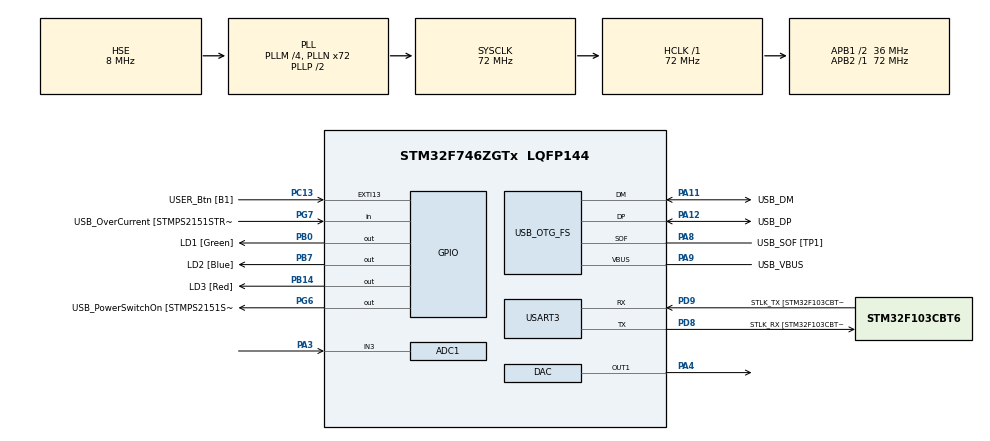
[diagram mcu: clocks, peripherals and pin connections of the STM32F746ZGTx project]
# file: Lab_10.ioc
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ADC1.Channel-0\#ChannelRegularConversion=ADC_CHANNEL_3
ADC1.NbrOfConversionFlag=1
ADC1.Rank-0\#ChannelRegularConversion=1
ADC1.SamplingTime-0\#ChannelRegularConversion=ADC_SAMPLETIME_3CYCLES
ADC1.master=1
Mcu.Family=STM32F7
Mcu.Name=STM32F746ZGTx
Mcu.Package=LQFP144
NVIC.PriorityGroup=NVIC_PRIORITYGROUP_4
NVIC.TIM3_IRQn=true\:0\:0\:false\:false\:true\:true\:true
PA1.GPIO_Label=RMII_REF_CLK [LAN8742A-CZ-TR_REFCLK0]
PA1.Signal=ETH_REF_CLK
PA10.GPIO_Label=USB_ID
PA10.Signal=USB_OTG_FS_ID
PA11.GPIO_Label=USB_DM
PA11.Mode=Device_Only
PA11.Signal=USB_OTG_FS_DM
PA12.GPIO_Label=USB_DP
PA12.Mode=Device_Only
PA12.Signal=USB_OTG_FS_DP
PA13.GPIO_Label=TMS
PA13.Mode=Serial_Wire
PA13.Signal=SYS_JTMS-SWDIO
PA14.GPIO_Label=TCK
PA14.Mode=Serial_Wire
PA14.Signal=SYS_JTCK-SWCLK
PA2.GPIO_Label=RMII_MDIO [LAN8742A-CZ-TR_MDIO]
PA2.Signal=ETH_MDIO
PA3.Signal=ADCx_IN3
PA4.Signal=COMP_DAC1_group
PA7.GPIO_Label=RMII_CRS_DV [LAN8742A-CZ-TR_CRS_DV]
PA7.Signal=ETH_CRS_DV
PA8.GPIO_Label=USB_SOF [TP1]
PA8.Mode=Activate_SOF_FS
PA8.Signal=USB_OTG_FS_SOF
PA9.GPIO_Label=USB_VBUS
PA9.Mode=Activate_VBUS
PA9.Signal=USB_OTG_FS_VBUS
PB0.GPIO_Label=LD1 [Green]
PB0.Signal=GPIO_Output
PB13.GPIO_Label=RMII_TXD1 [LAN8742A-CZ-TR_TXD1]
PB13.Signal=ETH_TXD1
PB14.GPIO_Label=LD3 [Red]
PB14.Signal=GPIO_Output
PB3.GPIO_Label=SW0
PB3.Signal=SYS_JTDO-SWO
PB7.GPIO_Label=LD2 [Blue]
PB7.Signal=GPIO_Output
PC1.GPIO_Label=RMII_MDC [LAN8742A-CZ-TR_MDC]
PC1.Signal=ETH_MDC
PC13.GPIO_Label=USER_Btn [B1]
PC13.Signal=GPXTI13
PC14/OSC32_IN.Mode=LSE-External-Oscillator
PC14/OSC32_IN.Signal=RCC_OSC32_IN
PC15/OSC32_OUT.Mode=LSE-External-Oscillator
PC15/OSC32_OUT.Signal=RCC_OSC32_OUT
PC4.GPIO_Label=RMII_RXD0 [LAN8742A-CZ-TR_RXD0]
PC4.Signal=ETH_RXD0
PC5.GPIO_Label=RMII_RXD1 [LAN8742A-CZ-TR_RXD1]
PC5.Signal=ETH_RXD1
PD8.GPIO_Label=STLK_RX [STM32F103CBT6_PA3]
PD8.Mode=Asynchronous
PD8.Signal=USART3_TX
PD9.GPIO_Label=STLK_TX [STM32F103CBT6_PA2]
PD9.Mode=Asynchronous
PD9.Signal=USART3_RX
PG11.GPIO_Label=RMII_TX_EN [LAN8742A-CZ-TR_TXEN]
PG11.Signal=ETH_TX_EN
PG13.GPIO_Label=RMII_TXD0 [LAN8742A-CZ-TR_TXD0]
PG13.Signal=ETH_TXD0
PG6.GPIO_Label=USB_PowerSwitchOn [STMPS2151STR_EN]
PG6.Signal=GPIO_Output
PG7.GPIO_Label=USB_OverCurrent [STMPS2151STR_FAULT]
PG7.Signal=GPIO_Input
PH0/OSC_IN.GPIO_Label=MCO [STM32F103CBT6_PA8]
PH0/OSC_IN.Mode=HSE-External-Clock-Source
PH0/OSC_IN.Signal=RCC_OSC_IN
PH1/OSC_OUT.Mode=HSE-External-Clock-Source
PH1/OSC_OUT.Signal=RCC_OSC_OUT
ProjectManager.HeapSize=0x200
ProjectManager.StackSize=0x400
ProjectManager.TargetToolchain=STM32CubeIDE
RCC.48MHZClocksFreq_Value=24000000
RCC.AHBFreq_Value=72000000
RCC.APB1CLKDivider=RCC_HCLK_DIV2
RCC.APB1Freq_Value=36000000
RCC.APB1TimFreq_Value=72000000
RCC.APB2Freq_Value=72000000
RCC.APB2TimFreq_Value=72000000
RCC.CortexFreq_Value=72000000
RCC.HCLKFreq_Value=72000000
RCC.HSE_VALUE=8000000
RCC.HSI_VALUE=16000000
RCC.PLLM=4
RCC.PLLMUL=RCC_PLL_MUL9
RCC.PLLN=72
RCC.PLLQ=3
RCC.PRESCALERUSB=RCC_USBCLKSOURCE_PLL_DIV1_5
RCC.SYSCLKFreq_VALUE=72000000
RCC.SYSCLKSource=RCC_SYSCLKSOURCE_PLLCLK
RCC.SYSCLKSourceVirtual=RCC_SYSCLKSOURCE_PLLCLK
RCC.USBFreq_Value=48000000
RCC.VCOOutputFreq_Value=144000000
SH.ADCx_IN3.0=ADC1_IN3,IN3
SH.COMP_DAC1_group.0=DAC_OUT1,DAC_OUT1
TIM3.Period=999
TIM3.Prescaler=8
TIM3.TIM_MasterOutputTrigger=TIM_TRGO_UPDATE
USART3.VirtualMode-Asynchronous=VM_ASYNC
USB_OTG_FS.VirtualMode=Device_Only
VP_TIM3_VS_ClockSourceINT.Mode=Internal
board=NUCLEO-F746ZG

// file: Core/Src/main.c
/* USER CODE BEGIN Header */
/**
  ******************************************************************************
  * @file           : main.c
  * @brief          : Main program body
  ******************************************************************************
  * @attention
  *
  * <h2><center>&copy; Copyright (c) 2021 STMicroelectronics.
  * All rights reserved.</center></h2>
  *
  * This software component is licensed by ST under BSD 3-Clause license,
  * the "License"; You may not use this file except in compliance with the
  * License. You may obtain a copy of the License at:
  *                        opensource.org/licenses/BSD-3-Clause
  *
  ******************************************************************************
  */
/* USER CODE END Header */
#include "main.h"

ADC_HandleTypeDef hadc1;

DAC_HandleTypeDef hdac;

TIM_HandleTypeDef htim3;

UART_HandleTypeDef huart3;

PCD_HandleTypeDef hpcd_USB_OTG_FS;

/* USER CODE BEGIN PV */
int AdcValue;
float factor[] = {0.2, 0.2, 0.2, 0.2, 0.2};
int xVal[] = {0,0,0,0,0};
/* USER CODE END PV */

void SystemClock_Config(void);
static void MX_GPIO_Init(void);
static void MX_USART3_UART_Init(void);
static void MX_USB_OTG_FS_PCD_Init(void);
static void MX_ADC1_Init(void);
static void MX_DAC_Init(void);
static void MX_TIM3_Init(void);

int main(void)
{

  /* MCU Configuration--------------------------------------------------------*/

  /* Reset of all peripherals, Initializes the Flash interface and the Systick. */
  HAL_Init();

  /* Configure the system clock */
  SystemClock_Config();

  /* Initialize all configured peripherals */
  MX_GPIO_Init();
  MX_USART3_UART_Init();
  MX_USB_OTG_FS_PCD_Init();
  MX_ADC1_Init();
  MX_DAC_Init();
  MX_TIM3_Init();
  /* USER CODE BEGIN 2 */
  HAL_TIM_Base_Start_IT(&htim3);
  /* USER CODE END 2 */

  /* Infinite loop */
  while (1)
  {

  }
}

void SystemClock_Config(void)
{
  RCC_OscInitTypeDef RCC_OscInitStruct = {0};
  RCC_ClkInitTypeDef RCC_ClkInitStruct = {0};
  RCC_PeriphCLKInitTypeDef PeriphClkInitStruct = {0};

  /** Configure LSE Drive Capability
  */
  HAL_PWR_EnableBkUpAccess();
  /** Configure the main internal regulator output voltage
  */
  __HAL_RCC_PWR_CLK_ENABLE();
  __HAL_PWR_VOLTAGESCALING_CONFIG(PWR_REGULATOR_VOLTAGE_SCALE3);
  /** Initializes the RCC Oscillators according to the specified parameters
  * in the RCC_OscInitTypeDef structure.
  */
  RCC_OscInitStruct.OscillatorType = RCC_OSCILLATORTYPE_HSE;
  RCC_OscInitStruct.HSEState = RCC_HSE_BYPASS;
  RCC_OscInitStruct.PLL.PLLState = RCC_PLL_ON;
  RCC_OscInitStruct.PLL.PLLSource = RCC_PLLSOURCE_HSE;
  RCC_OscInitStruct.PLL.PLLM = 4;
  RCC_OscInitStruct.PLL.PLLN = 72;
  RCC_OscInitStruct.PLL.PLLP = RCC_PLLP_DIV2;
  RCC_OscInitStruct.PLL.PLLQ = 3;
  if (HAL_RCC_OscConfig(&RCC_OscInitStruct) != HAL_OK)
  {
    Error_Handler();
  }
  /** Initializes the CPU, AHB and APB buses clocks
  */
  RCC_ClkInitStruct.ClockType = RCC_CLOCKTYPE_HCLK|RCC_CLOCKTYPE_SYSCLK
                              |RCC_CLOCKTYPE_PCLK1|RCC_CLOCKTYPE_PCLK2;
  RCC_ClkInitStruct.SYSCLKSource = RCC_SYSCLKSOURCE_PLLCLK;
  RCC_ClkInitStruct.AHBCLKDivider = RCC_SYSCLK_DIV1;
  RCC_ClkInitStruct.APB1CLKDivider = RCC_HCLK_DIV2;
  RCC_ClkInitStruct.APB2CLKDivider = RCC_HCLK_DIV1;

  if (HAL_RCC_ClockConfig(&RCC_ClkInitStruct, FLASH_LATENCY_2) != HAL_OK)
  {
    Error_Handler();
  }
  PeriphClkInitStruct.PeriphClockSelection = RCC_PERIPHCLK_USART3|RCC_PERIPHCLK_CLK48;
  PeriphClkInitStruct.Usart3ClockSelection = RCC_USART3CLKSOURCE_PCLK1;
  PeriphClkInitStruct.Clk48ClockSelection = RCC_CLK48SOURCE_PLL;
  if (HAL_RCCEx_PeriphCLKConfig(&PeriphClkInitStruct) != HAL_OK)
  {
    Error_Handler();
  }
}

static void MX_ADC1_Init(void)
{

  ADC_ChannelConfTypeDef sConfig = {0};

  /** Configure the global features of the ADC (Clock, Resolution, Data Alignment and number of conversion)
  */
  hadc1.Instance = ADC1;
  hadc1.Init.ClockPrescaler = ADC_CLOCK_SYNC_PCLK_DIV2;
  hadc1.Init.Resolution = ADC_RESOLUTION_12B;
  hadc1.Init.ScanConvMode = ADC_SCAN_DISABLE;
  hadc1.Init.ContinuousConvMode = DISABLE;
  hadc1.Init.DiscontinuousConvMode = DISABLE;
  hadc1.Init.ExternalTrigConvEdge = ADC_EXTERNALTRIGCONVEDGE_NONE;
  hadc1.Init.ExternalTrigConv = ADC_SOFTWARE_START;
  hadc1.Init.DataAlign = ADC_DATAALIGN_RIGHT;
  hadc1.Init.NbrOfConversion = 1;
  hadc1.Init.DMAContinuousRequests = DISABLE;
  hadc1.Init.EOCSelection = ADC_EOC_SINGLE_CONV;
  if (HAL_ADC_Init(&hadc1) != HAL_OK)
  {
    Error_Handler();
  }
  /** Configure for the selected ADC regular channel its corresponding rank in the sequencer and its sample time.
  */
  sConfig.Channel = ADC_CHANNEL_3;
  sConfig.Rank = ADC_REGULAR_RANK_1;
  sConfig.SamplingTime = ADC_SAMPLETIME_3CYCLES;
  if (HAL_ADC_ConfigChannel(&hadc1, &sConfig) != HAL_OK)
  {
    Error_Handler();
  }

}

static void MX_DAC_Init(void)
{

  DAC_ChannelConfTypeDef sConfig = {0};

  /** DAC Initialization
  */
  hdac.Instance = DAC;
  if (HAL_DAC_Init(&hdac) != HAL_OK)
  {
    Error_Handler();
  }
  /** DAC channel OUT1 config
  */
  sConfig.DAC_Trigger = DAC_TRIGGER_NONE;
  sConfig.DAC_OutputBuffer = DAC_OUTPUTBUFFER_ENABLE;
  if (HAL_DAC_ConfigChannel(&hdac, &sConfig, DAC_CHANNEL_1) != HAL_OK)
  {
    Error_Handler();
  }

}

static void MX_TIM3_Init(void)
{

  TIM_ClockConfigTypeDef sClockSourceConfig = {0};
  TIM_MasterConfigTypeDef sMasterConfig = {0};

  htim3.Instance = TIM3;
  htim3.Init.Prescaler = 8;
  htim3.Init.CounterMode = TIM_COUNTERMODE_UP;
  htim3.Init.Period = 999;
  htim3.Init.ClockDivision = TIM_CLOCKDIVISION_DIV1;
  htim3.Init.AutoReloadPreload = TIM_AUTORELOAD_PRELOAD_DISABLE;
  if (HAL_TIM_Base_Init(&htim3) != HAL_OK)
  {
    Error_Handler();
  }
  sClockSourceConfig.ClockSource = TIM_CLOCKSOURCE_INTERNAL;
  if (HAL_TIM_ConfigClockSource(&htim3, &sClockSourceConfig) != HAL_OK)
  {
    Error_Handler();
  }
  sMasterConfig.MasterOutputTrigger = TIM_TRGO_UPDATE;
  sMasterConfig.MasterSlaveMode = TIM_MASTERSLAVEMODE_DISABLE;
  if (HAL_TIMEx_MasterConfigSynchronization(&htim3, &sMasterConfig) != HAL_OK)
  {
    Error_Handler();
  }

}

static void MX_USART3_UART_Init(void)
{

  huart3.Instance = USART3;
  huart3.Init.BaudRate = 115200;
  huart3.Init.WordLength = UART_WORDLENGTH_8B;
  huart3.Init.StopBits = UART_STOPBITS_1;
  huart3.Init.Parity = UART_PARITY_NONE;
  huart3.Init.Mode = UART_MODE_TX_RX;
  huart3.Init.HwFlowCtl = UART_HWCONTROL_NONE;
  huart3.Init.OverSampling = UART_OVERSAMPLING_16;
  huart3.Init.OneBitSampling = UART_ONE_BIT_SAMPLE_DISABLE;
  huart3.AdvancedInit.AdvFeatureInit = UART_ADVFEATURE_NO_INIT;
  if (HAL_UART_Init(&huart3) != HAL_OK)
  {
    Error_Handler();
  }

}

static void MX_USB_OTG_FS_PCD_Init(void)
{

  hpcd_USB_OTG_FS.Instance = USB_OTG_FS;
  hpcd_USB_OTG_FS.Init.dev_endpoints = 6;
  hpcd_USB_OTG_FS.Init.speed = PCD_SPEED_FULL;
  hpcd_USB_OTG_FS.Init.dma_enable = DISABLE;
  hpcd_USB_OTG_FS.Init.phy_itface = PCD_PHY_EMBEDDED;
  hpcd_USB_OTG_FS.Init.Sof_enable = ENABLE;
  hpcd_USB_OTG_FS.Init.low_power_enable = DISABLE;
  hpcd_USB_OTG_FS.Init.lpm_enable = DISABLE;
  hpcd_USB_OTG_FS.Init.vbus_sensing_enable = ENABLE;
  hpcd_USB_OTG_FS.Init.use_dedicated_ep1 = DISABLE;
  if (HAL_PCD_Init(&hpcd_USB_OTG_FS) != HAL_OK)
  {
    Error_Handler();
  }

}

static void MX_GPIO_Init(void)
{
  GPIO_InitTypeDef GPIO_InitStruct = {0};

  /* GPIO Ports Clock Enable */
  __HAL_RCC_GPIOC_CLK_ENABLE();
  __HAL_RCC_GPIOH_CLK_ENABLE();
  __HAL_RCC_GPIOA_CLK_ENABLE();
  __HAL_RCC_GPIOB_CLK_ENABLE();
  __HAL_RCC_GPIOD_CLK_ENABLE();
  __HAL_RCC_GPIOG_CLK_ENABLE();

  /*Configure GPIO pin Output Level */
  HAL_GPIO_WritePin(GPIOB, LD1_Pin|LD3_Pin|LD2_Pin, GPIO_PIN_RESET);

  /*Configure GPIO pin Output Level */
  HAL_GPIO_WritePin(USB_PowerSwitchOn_GPIO_Port, USB_PowerSwitchOn_Pin, GPIO_PIN_RESET);

  /*Configure GPIO pin : USER_Btn_Pin */
  GPIO_InitStruct.Pin = USER_Btn_Pin;
  GPIO_InitStruct.Mode = GPIO_MODE_IT_RISING;
  GPIO_InitStruct.Pull = GPIO_NOPULL;
  HAL_GPIO_Init(USER_Btn_GPIO_Port, &GPIO_InitStruct);

  /*Configure GPIO pins : RMII_MDC_Pin RMII_RXD0_Pin RMII_RXD1_Pin */
  GPIO_InitStruct.Pin = RMII_MDC_Pin|RMII_RXD0_Pin|RMII_RXD1_Pin;
  GPIO_InitStruct.Mode = GPIO_MODE_AF_PP;
  GPIO_InitStruct.Pull = GPIO_NOPULL;
  GPIO_InitStruct.Speed = GPIO_SPEED_FREQ_VERY_HIGH;
  GPIO_InitStruct.Alternate = GPIO_AF11_ETH;
  HAL_GPIO_Init(GPIOC, &GPIO_InitStruct);

  /*Configure GPIO pins : RMII_REF_CLK_Pin RMII_MDIO_Pin RMII_CRS_DV_Pin */
  GPIO_InitStruct.Pin = RMII_REF_CLK_Pin|RMII_MDIO_Pin|RMII_CRS_DV_Pin;
  GPIO_InitStruct.Mode = GPIO_MODE_AF_PP;
  GPIO_InitStruct.Pull = GPIO_NOPULL;
  GPIO_InitStruct.Speed = GPIO_SPEED_FREQ_VERY_HIGH;
  GPIO_InitStruct.Alternate = GPIO_AF11_ETH;
  HAL_GPIO_Init(GPIOA, &GPIO_InitStruct);

  /*Configure GPIO pins : LD1_Pin LD3_Pin LD2_Pin */
  GPIO_InitStruct.Pin = LD1_Pin|LD3_Pin|LD2_Pin;
  GPIO_InitStruct.Mode = GPIO_MODE_OUTPUT_PP;
  GPIO_InitStruct.Pull = GPIO_NOPULL;
  GPIO_InitStruct.Speed = GPIO_SPEED_FREQ_LOW;
  HAL_GPIO_Init(GPIOB, &GPIO_InitStruct);

  /*Configure GPIO pin : RMII_TXD1_Pin */
  GPIO_InitStruct.Pin = RMII_TXD1_Pin;
  GPIO_InitStruct.Mode = GPIO_MODE_AF_PP;
  GPIO_InitStruct.Pull = GPIO_NOPULL;
  GPIO_InitStruct.Speed = GPIO_SPEED_FREQ_VERY_HIGH;
  GPIO_InitStruct.Alternate = GPIO_AF11_ETH;
  HAL_GPIO_Init(RMII_TXD1_GPIO_Port, &GPIO_InitStruct);

  /*Configure GPIO pin : USB_PowerSwitchOn_Pin */
  GPIO_InitStruct.Pin = USB_PowerSwitchOn_Pin;
  GPIO_InitStruct.Mode = GPIO_MODE_OUTPUT_PP;
  GPIO_InitStruct.Pull = GPIO_NOPULL;
  GPIO_InitStruct.Speed = GPIO_SPEED_FREQ_LOW;
  HAL_GPIO_Init(USB_PowerSwitchOn_GPIO_Port, &GPIO_InitStruct);

  /*Configure GPIO pin : USB_OverCurrent_Pin */
  GPIO_InitStruct.Pin = USB_OverCurrent_Pin;
  GPIO_InitStruct.Mode = GPIO_MODE_INPUT;
  GPIO_InitStruct.Pull = GPIO_NOPULL;
  HAL_GPIO_Init(USB_OverCurrent_GPIO_Port, &GPIO_InitStruct);

  /*Configure GPIO pins : RMII_TX_EN_Pin RMII_TXD0_Pin */
  GPIO_InitStruct.Pin = RMII_TX_EN_Pin|RMII_TXD0_Pin;
  GPIO_InitStruct.Mode = GPIO_MODE_AF_PP;
  GPIO_InitStruct.Pull = GPIO_NOPULL;
  GPIO_InitStruct.Speed = GPIO_SPEED_FREQ_VERY_HIGH;
  GPIO_InitStruct.Alternate = GPIO_AF11_ETH;
  HAL_GPIO_Init(GPIOG, &GPIO_InitStruct);

}

/* USER CODE BEGIN 4 */
void HAL_TIM_PeriodElapsedCallback	(TIM_HandleTypeDef * 	htim)
{
	int zad = 0;
	HAL_ADC_Start(&hadc1);
	HAL_ADC_PollForConversion(&hadc1, AdcValue);
	AdcValue = HAL_ADC_GetValue(&hadc1);
	static int it = 0;
	switch ( zad )
	{
	    case 0:

	    	HAL_DAC_SetValue(&hdac, DAC_CHANNEL_1, DAC_ALIGN_12B_R, AdcValue);
	        break;
	    case 1:
	    	xVal[it] = AdcValue;
	    	int out = factor[0]*xVal[0] + factor[1]*xVal[1] + factor[2]*xVal[2] + factor[3]*xVal[3] + factor[4]*xVal[4];
	    	HAL_DAC_SetValue(&hdac, DAC_CHANNEL_1, DAC_ALIGN_12B_R, out);
	    	if(it < 4)
	    	{
	    		it = it + 1;
	    	}
	    	else
	    		it = 0;
	    	break;
	}

}

/* USER CODE END 4 */

void Error_Handler(void)
{
  __disable_irq();
  while (1)
  {
  }
}

/************************ (C) COPYRIGHT STMicroelectronics *****END OF FILE****/
